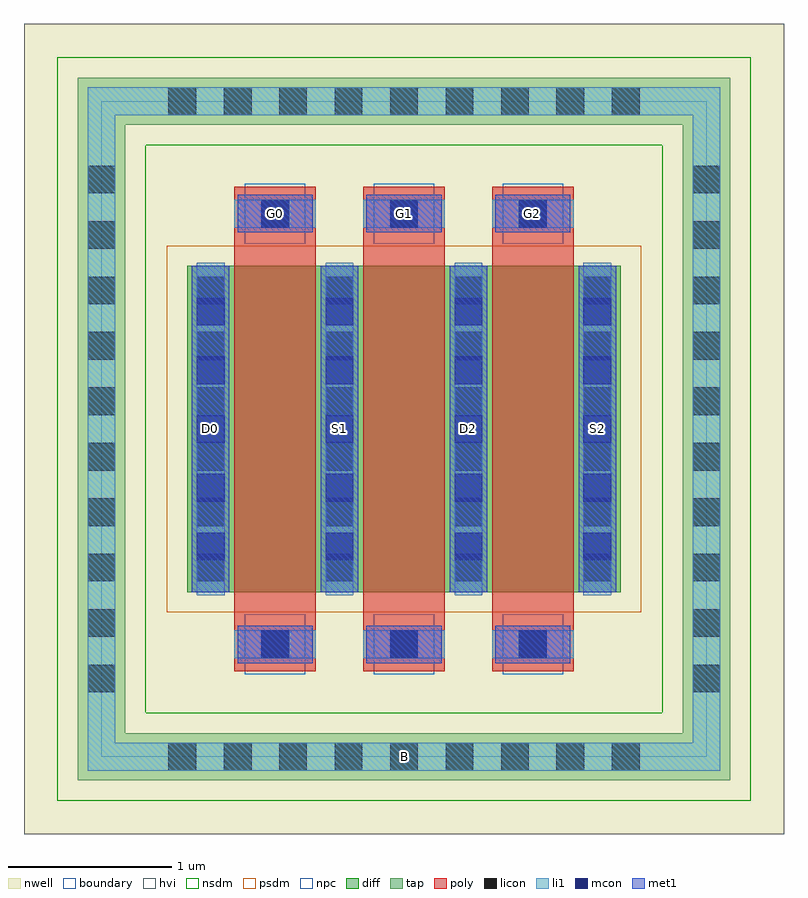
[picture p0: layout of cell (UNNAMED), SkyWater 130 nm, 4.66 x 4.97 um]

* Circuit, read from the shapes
.subckt (UNNAMED) B D0 D2 G0 G1 G2 S1 S2
XM1 S1 G0 D0 B sky130_fd_pr__pfet_g5v0d10v5 w=2 l=0.5
XM2 D2 G1 S1 B sky130_fd_pr__pfet_g5v0d10v5 w=2 l=0.5
XM3 S2 G2 D2 B sky130_fd_pr__pfet_g5v0d10v5 w=2 l=0.5
.ends

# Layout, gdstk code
import gdstk
lib = gdstk.Library(unit=1e-6, precision=1e-09)
def R(c, l, rs):  # rectangles x0, y0, x1, y1
    for r in rs: c.add(gdstk.rectangle(r[:2], r[2:], *l))
def A(c, l, x, y, w, h, nx, ny, dx, dy):  # array of equal rectangles
    R(c, l, [(x+i*dx, y+j*dy, x+i*dx+w, y+j*dy+h) for i in range(nx) for j in range(ny)])
nwell = (64, 20)
diff = (65, 20)
tap = (65, 44)
poly = (66, 20)
licon = (66, 44)
li1 = (67, 20)
mcon = (67, 44)
met1 = (68, 20)
hvi = (75, 20)
nsdm = (93, 44)
psdm = (94, 20)
npc = (95, 20)
boundary = (235, 4)

c__unnamed_ = lib.new_cell('(UNNAMED)')
R(c__unnamed_, nwell, [(-2.33,-2.485,2.33,2.485)])
R(c__unnamed_, diff, [(-1.33,-1,1.33,1)])
R(c__unnamed_, tap, [(-2,-2.155,2,-1.865), (-2,-1.865,-1.71,1.865), (1.71,-1.865,2,1.865), (-2,1.865,2,2.155)])
A(c__unnamed_, poly, -1.04, -1.485, 0.5, 2.97, 3, 1, 0.79, 0)
A(c__unnamed_, licon, -1.445, -2.095, 0.17, 0.17, 9, 2, 0.34, 4.02)
A(c__unnamed_, licon, -1.94, -1.615, 0.17, 0.17, 1, 10, 0, 0.34)
A(c__unnamed_, licon, 1.77, -1.615, 0.17, 0.17, 1, 10, 0, 0.34)
A(c__unnamed_, licon, -0.875, -1.405, 0.17, 0.17, 3, 2, 0.79, 2.64)
A(c__unnamed_, licon, -1.27, -0.935, 0.17, 0.17, 4, 6, 0.79, 0.34)
A(c__unnamed_, li1, -1.04, -1.405, 0.5, 0.17, 3, 2, 0.79, 2.64)
A(c__unnamed_, li1, -1.27, -1.02, 0.17, 2.04, 4, 1, 0.79, 0)
R(c__unnamed_, li1, [(-1.94,-2.095,1.94,-1.925), (-1.94,-1.925,-1.77,1.925), (1.77,-1.925,1.94,1.925), (-1.94,1.925,1.94,2.095)])
A(c__unnamed_, mcon, -0.875, -1.405, 0.17, 0.17, 3, 2, 0.79, 2.64)
A(c__unnamed_, mcon, -1.27, -0.805, 0.17, 0.17, 4, 5, 0.79, 0.36)
A(c__unnamed_, met1, -1.02, -1.435, 0.46, 0.23, 3, 2, 0.79, 2.64)
A(c__unnamed_, met1, -1.3, -1, 0.23, 2, 4, 1, 0.79, 0)
R(c__unnamed_, hvi, [(-2.33,-2.485,2.33,2.485)])
R(c__unnamed_, nsdm, [(-2.125,-2.28,2.125,-1.74), (-2.125,-1.74,-1.585,1.74), (1.585,-1.74,2.125,1.74), (-2.125,1.74,2.125,2.28)])
R(c__unnamed_, psdm, [(-1.455,-1.125,1.455,1.125)])
A(c__unnamed_, npc, -0.975, -1.505, 0.37, 0.37, 3, 2, 0.79, 2.64)
R(c__unnamed_, boundary, [(-1.855,-2.01,1.855,2.01)])
c__unnamed_.add(gdstk.Label('B', (0,-2.01), layer=67, texttype=5))
c__unnamed_.add(gdstk.Label('D0', (-1.185,0), layer=67, texttype=5))
c__unnamed_.add(gdstk.Label('G0', (-0.79,1.32), layer=67, texttype=5))
c__unnamed_.add(gdstk.Label('S1', (-0.395,0), layer=67, texttype=5))
c__unnamed_.add(gdstk.Label('G1', (0,1.32), layer=67, texttype=5))
c__unnamed_.add(gdstk.Label('D2', (0.395,0), layer=67, texttype=5))
c__unnamed_.add(gdstk.Label('S2', (1.185,0), layer=67, texttype=5))
c__unnamed_.add(gdstk.Label('G2', (0.79,1.32), layer=67, texttype=5))

lib.write_gds('_UNNAMED_.gds')
